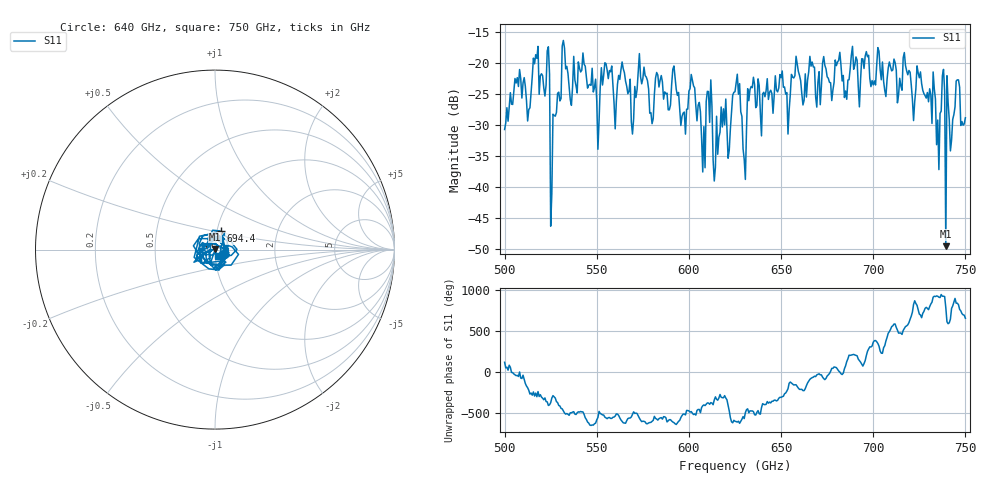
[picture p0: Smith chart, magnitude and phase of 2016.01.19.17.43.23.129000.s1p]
!Created with skrf (http://scikit-rf.org).
# GHz S RI R 50.0
!freq ReS11 ImS11
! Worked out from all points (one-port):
!   401 points, 500 GHz to 750 GHz, reference 50 ohm
!   lowest |S11| = -49.5 dB at 739.4 GHz (marker M1), VSWR 1.01, Z = 50.2 + j0.295 ohm
!   |S11| at or under -10 dB: start of sweep to end of sweep
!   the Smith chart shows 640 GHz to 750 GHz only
!   S11 on the Smith chart (normalised r, x): 640 GHz: 1.11, -0.05; 694.4 GHz: 1.04, +0.22; 750 GHz: 1.03, -0.07
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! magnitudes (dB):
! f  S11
! 500 GHz  -30.7
! 506.9 GHz  -22.3
! 513.1 GHz  -27.5
! 516.9 GHz  -18.6
! 523.1 GHz  -18.0
! 526.2 GHz  -28.2
! 531.2 GHz  -17.2
! 550 GHz  -26.1
! 562.5 GHz  -22.6
! 570 GHz  -29.0
! 574.4 GHz  -23.3
! 580 GHz  -29.8
! 593.8 GHz  -25.2
! 601.9 GHz  -22.7
! 607.5 GHz  -37.6
! 611.2 GHz  -29.6
! 614.4 GHz  -36.8
! 625 GHz  -24.6
! 630 GHz  -35.5
! 634.4 GHz  -23.9
! 640 GHz  -24.9
! 656.2 GHz  -22.2
! 687.5 GHz  -20.9
! 694.4 GHz  -19.3
! 718.8 GHz  -21.9
! 739.4 GHz  -49.5
! 745.6 GHz  -22.7
! 750 GHz  -28.8
